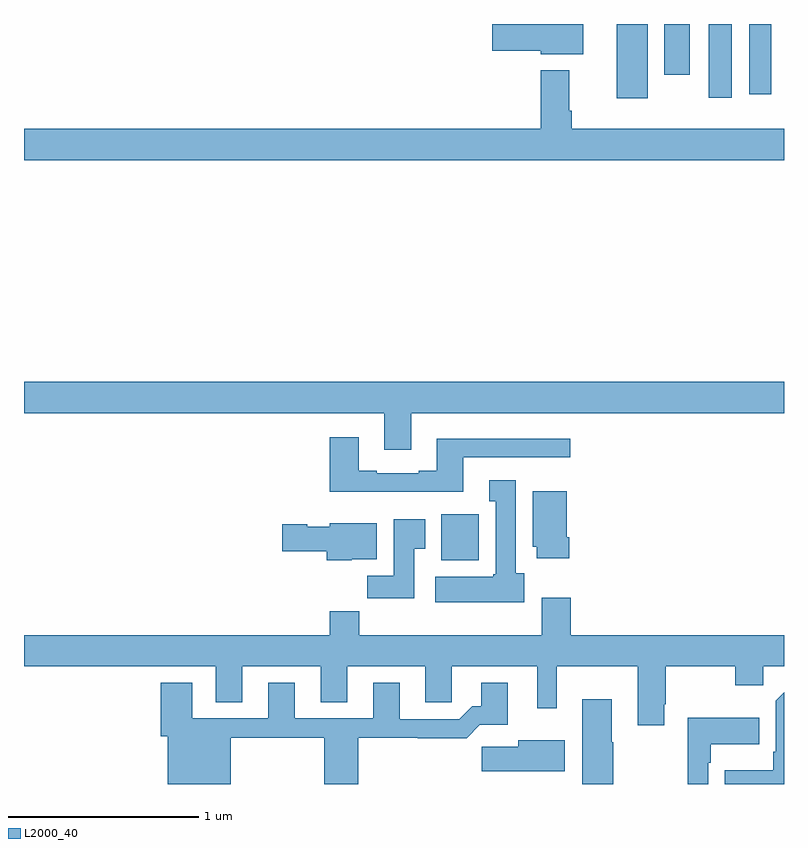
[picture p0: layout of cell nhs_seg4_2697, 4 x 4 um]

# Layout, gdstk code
import gdstk
lib = gdstk.Library(unit=1e-6, precision=1e-09)
def R(c, l, rs):  # rectangles x0, y0, x1, y1
    for r in rs: c.add(gdstk.rectangle(r[:2], r[2:], *l))
def P(c, l, *ps):  # polygons
    for p in ps: c.add(gdstk.Polygon(p, *l))
L2000_40 = (2000, 40)

nhs_seg4_2697 = lib.new_cell('nhs_seg4_2697')
R(nhs_seg4_2697, L2000_40, [(255.197,764.078,255.394,764.32), (256.121,766.509,256.282,766.9), (256.604,766.512,256.726,766.9), (256.818,766.53,256.934,766.9), (256.37,766.632,256.504,766.9)])
P(nhs_seg4_2697, L2000_40, [(255.943,766.9),(255.464,766.9),(255.464,766.76),(255.72,766.76),(255.72,766.742),(255.943,766.742)],
  [(257,766.348),(255.884,766.348),(255.884,766.444),(255.871,766.444),(255.871,766.657),(255.719,766.657),(255.719,766.348),(253,766.348),(253,766.184),(257,766.184)],
  [(255.037,764.852),(257,764.852),(257,765.016),(253,765.016),(253,764.852),(254.897,764.852),(254.897,764.658),(255.037,764.658)],
  [(255.313,764.619),(255.874,764.619),(255.874,764.716),(255.173,764.716),(255.173,764.548),(255.077,764.548),(255.077,764.535),(254.857,764.535),(254.857,764.548),(254.761,764.548),(254.761,764.725),(254.609,764.725),(254.609,764.438),(255.313,764.438)],
  [(255.634,764.01),(255.589,764.01),(255.589,764.5),(255.449,764.5),(255.449,764.387),(255.482,764.387),(255.482,764.004),(255.469,764.004),(255.469,763.99),(255.165,763.99),(255.165,763.856),(255.634,763.856)],
  [(255.869,764.2),(255.856,764.2),(255.856,764.44),(255.677,764.44),(255.677,764.148),(255.698,764.148),(255.698,764.088),(255.869,764.088)],
  [(255.055,764.137),(255.112,764.137),(255.112,764.293),(254.945,764.293),(254.945,763.996),(254.806,763.996),(254.806,763.878),(255.055,763.878)],
  [(254.724,764.084),(254.857,764.084),(254.857,764.272),(254.61,764.272),(254.61,764.254),(254.49,764.254),(254.49,764.267),(254.358,764.267),(254.358,764.125),(254.594,764.125),(254.594,764.078),(254.724,764.078)],
  [(256.369,763.321),(256.377,763.321),(256.377,763.52),(256.744,763.52),(256.744,763.421),(256.89,763.421),(256.89,763.52),(257,763.52),(257,763.684),(255.878,763.684),(255.878,763.879),(255.725,763.879),(255.725,763.684),(254.765,763.684),(254.765,763.808),(254.609,763.808),(254.609,763.684),(253,763.684),(253,763.52),(254.009,763.52),(254.009,763.33),(254.149,763.33),(254.149,763.52),(254.561,763.52),(254.561,763.33),(254.701,763.33),(254.701,763.52),(255.113,763.52),(255.113,763.33),(255.252,763.33),(255.252,763.52),(255.701,763.52),(255.701,763.299),(255.805,763.299),(255.805,763.52),(256.229,763.52),(256.229,763.209),(256.369,763.209)],
  [(254.089,763.144),(254.581,763.144),(254.581,762.9),(254.759,762.9),(254.759,763.144),(255.073,763.144),(255.073,763.142),(255.329,763.142),(255.398,763.211),(255.547,763.211),(255.547,763.432),(255.407,763.432),(255.407,763.309),(255.358,763.309),(255.291,763.242),(254.977,763.242),(254.977,763.432),(254.837,763.432),(254.837,763.245),(254.425,763.245),(254.425,763.432),(254.285,763.432),(254.285,763.245),(253.885,763.245),(253.885,763.432),(253.721,763.432),(253.721,763.152),(253.757,763.152),(253.757,762.9),(254.089,762.9)],
  [(257,763.382),(256.956,763.338),(256.956,763.069),(256.944,763.069),(256.944,762.973),(256.687,762.973),(256.687,762.9),(257,762.9)],
  [(256.101,763.121),(256.093,763.121),(256.093,763.345),(255.938,763.345),(255.938,762.9),(256.101,762.9)],
  [(256.602,763.013),(256.615,763.013),(256.615,763.109),(256.871,763.109),(256.871,763.249),(256.494,763.249),(256.494,762.9),(256.602,762.9)],
  [(255.847,763.129),(255.602,763.129),(255.602,763.097),(255.408,763.097),(255.408,762.968),(255.847,762.968)])

lib.write_gds('nhs_seg4_2697.gds')
